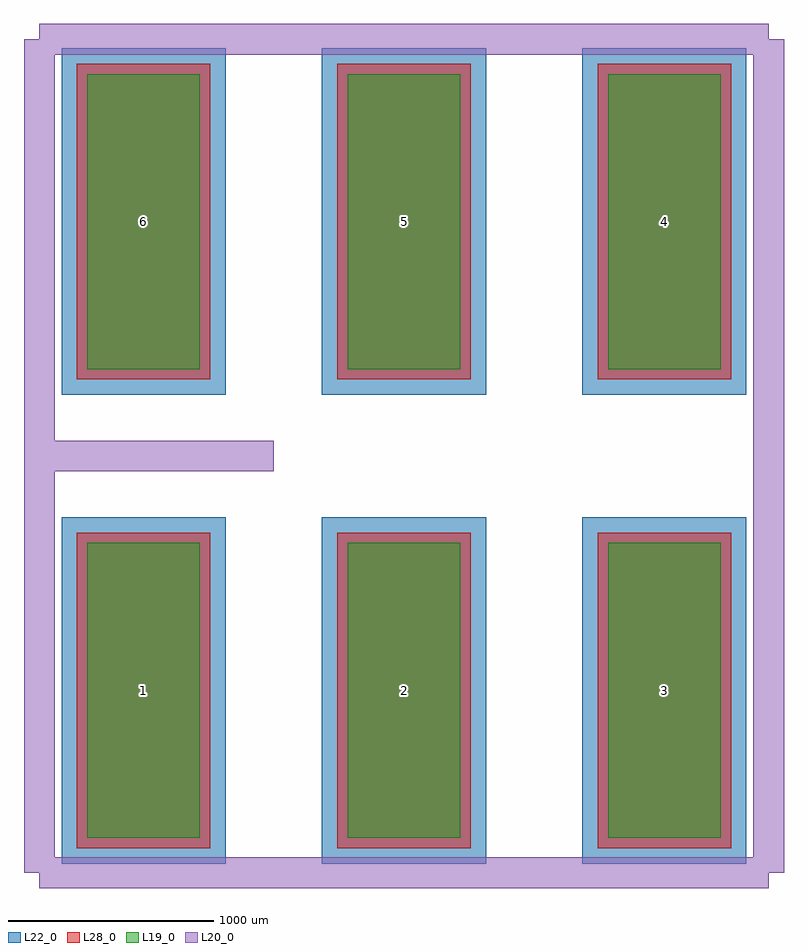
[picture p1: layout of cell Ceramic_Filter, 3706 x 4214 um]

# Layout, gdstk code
import gdstk
lib = gdstk.Library(unit=1e-6, precision=1e-09)
def R(c, l, rs):  # rectangles x0, y0, x1, y1
    for r in rs: c.add(gdstk.rectangle(r[:2], r[2:], *l))
def A(c, l, x, y, w, h, nx, ny, dx, dy):  # array of equal rectangles
    R(c, l, [(x+i*dx, y+j*dy, x+i*dx+w, y+j*dy+h) for i in range(nx) for j in range(ny)])
L19_0 = (19, 0)
L20_0 = (20, 0)
L22_0 = (22, 0)
L28_0 = (28, 0)

ceramic_filter = lib.new_cell('Ceramic_Filter')
A(ceramic_filter, L19_0, -1545.12, -1862.62, 550.24, 1439.24, 3, 2, 1270, 2286)
A(ceramic_filter, L22_0, -1670.12, -1987.62, 800.24, 1689.24, 3, 2, 1270, 2286)
A(ceramic_filter, L28_0, -1595.12, -1912.62, 650.24, 1539.24, 3, 2, 1270, 2286)
ceramic_filter.add(gdstk.FlexPath([(-1778,-2032),(-1778,2032)], 149.998, ends="flush", simple_path=True, layer=20, datatype=0))  # L20_0
ceramic_filter.add(gdstk.FlexPath([(1778,-2032),(-1778,-2032)], 149.998, ends="flush", simple_path=True, layer=20, datatype=0))  # L20_0
ceramic_filter.add(gdstk.FlexPath([(1778,2032),(1778,-2032)], 149.998, ends="flush", simple_path=True, layer=20, datatype=0))  # L20_0
ceramic_filter.add(gdstk.FlexPath([(-1778,2032),(1778,2032)], 149.998, ends="flush", simple_path=True, layer=20, datatype=0))  # L20_0
ceramic_filter.add(gdstk.FlexPath([(-1778,0),(-635,0)], 149.998, ends="flush", simple_path=True, layer=20, datatype=0))  # L20_0
ceramic_filter.add(gdstk.Label('6', (-1270,1143), layer=28, texttype=0))
ceramic_filter.add(gdstk.Label('5', (0,1143), layer=28, texttype=0))
ceramic_filter.add(gdstk.Label('4', (1270,1143), layer=28, texttype=0))
ceramic_filter.add(gdstk.Label('3', (1270,-1143), layer=28, texttype=0))
ceramic_filter.add(gdstk.Label('2', (0,-1143), layer=28, texttype=0))
ceramic_filter.add(gdstk.Label('1', (-1270,-1143), layer=28, texttype=0))
ceramic_filter.add(gdstk.Label('type', (-2413,0), layer=9, texttype=0))
ceramic_filter.add(gdstk.Label('devicename', (2413,0), layer=9, texttype=0))

lib.write_gds('Ceramic_Filter.gds')
